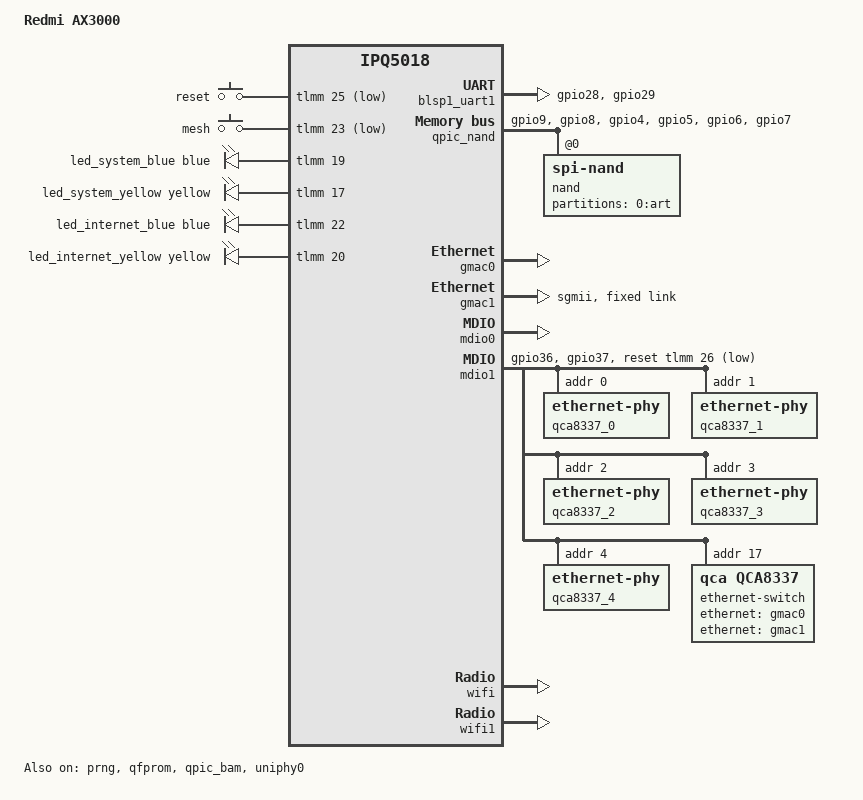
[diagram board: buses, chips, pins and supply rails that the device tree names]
// SPDX-License-Identifier: (GPL-2.0+)
/*
 * Redmi AX3000 / Xiaomi CR8806 / CR8808 / CR8809 (CR880X series)
 * NSS build (kuncy7/openwrt-nss-edma, c3po-tag-8021q, kernel 6.18:
 * upstream stmmac/dwmac-ipq5018 MACs + qca8k DSA switch + NSS cores).
 *
 * Sources of each section (keep this map when editing):
 *   - Ethernet topology (&uniphy0/&gmac0/&gmac1/&mdio1/ethernet-switch):
 *     ipq5018-redmi-ax5400.dts — same QCA8337 + GE-PHY + SGMII wiring,
 *     only the port labels differ (CR8806: Phy0-2 = LAN1-3, Phy3 = WAN).
 *   - QCN6122 5G radio (reserved-memory + &wifi1 + &q6v5_wcss boot-args):
 *     ipq5018-gl-b3000.dts — same chip, same user-PD wiring.
 *   - 256 MB RAM recipe (&nss_region 8 MiB + swiotlb=1 + coherent_pool=512K
 *     + 256M ath11k/NSS memory profiles via kernel config):
 *     ipq5018-tplink-ex511-v2.dts — the community-verified 256M board on
 *     this exact tree.
 *   - Board peripherals (LED/button GPIOs, mdio reset GPIO 26, QCN6122
 *     reset GPIO 27, smem partitions, ECC strength 4):
 *     this repo's openwrt-25.12 device DTS, verified on hardware.
 *
 * Verified on-device so far (25.12 tree): GPIOs, ECC, partitions, UART on
 * gpio28/29, QCN6122 UPD2@PCIE1 with reset GPIO 27. NOT yet verified on
 * this NSS tree: the NSS data plane itself, the dsa (tag_8021q) topology
 * bring-up, and the 256M memory recipe — these follow the community-
 * verified AX5400/B3000/EX511 precedents on the same tree.
 */

/dts-v1/;

#include "ipq5018.dtsi"
#include "ipq5018-ess.dtsi"
#include "ipq5018-nss.dtsi"
#include "ipq5018-qcn6122.dtsi"

#include <dt-bindings/gpio/gpio.h>
#include <dt-bindings/input/input.h>
#include <dt-bindings/leds/common.h>

/ {
        model = "Redmi AX3000";
        compatible = "redmi,ax3000", "qcom,ipq5018";

        aliases {
                label-mac-device = &gmac0;
                serial0 = &blsp1_uart1;

                led-boot = &led_system_blue;
                led-failsafe = &led_system_yellow;
                led-running = &led_system_blue;
                led-upgrade = &led_system_yellow;
        };

        chosen {
                /* root=/dev/ubiblock0_1: same as the 25.12 build (stock
                 * U-Boot passes ubi.mtd=rootfs(_1); sysupgrade boots the
                 * active slot, ubiblock index follows it — verified).
                 *
                 * 256 MB recipe (EX511 v2 precedent): swiotlb=1 for the
                 * stmmac/DMA bounce path and coherent_pool=512K instead of
                 * the 2M every 512 MB board passes. 512K is safe on this
                 * tree because the MPD firmware loader does not drain the
                 * atomic pools (EX511 runs this exact combination).
                 */
                bootargs-append = " root=/dev/ubiblock0_1 swiotlb=1 coherent_pool=512K";
                stdout-path = "serial0:115200n8";
        };

        keys {
                compatible = "gpio-keys";
                pinctrl-0 = <&button_pins>;
                pinctrl-names = "default";

                button-0 {
                        label = "reset";
                        gpios = <&tlmm 25 GPIO_ACTIVE_LOW>;
                        linux,code = <KEY_RESTART>;
                        debounce-interval = <60>;
                };

                button-1 {
                        label = "mesh";
                        gpios = <&tlmm 23 GPIO_ACTIVE_LOW>;
                        linux,code = <KEY_WPS_BUTTON>;
                        debounce-interval = <60>;
                };
        };

        leds {
                compatible = "gpio-leds";
                pinctrl-0 = <&led_pins>;
                pinctrl-names = "default";

                led_system_blue: led-0 {
                        gpios = <&tlmm 19 GPIO_ACTIVE_HIGH>;
                        color = <LED_COLOR_ID_BLUE>;
                        function = LED_FUNCTION_STATUS;
                        default-state = "on";
                };

                led_system_yellow: led-1 {
                        gpios = <&tlmm 17 GPIO_ACTIVE_HIGH>;
                        color = <LED_COLOR_ID_YELLOW>;
                        function = LED_FUNCTION_STATUS;
                };

                led_internet_blue: led-2 {
                        gpios = <&tlmm 22 GPIO_ACTIVE_HIGH>;
                        color = <LED_COLOR_ID_BLUE>;
                        function = LED_FUNCTION_WAN;
                };

                led_internet_yellow: led-3 {
                        gpios = <&tlmm 20 GPIO_ACTIVE_HIGH>;
                        color = <LED_COLOR_ID_YELLOW>;
                        function = LED_FUNCTION_WAN;
                };
        };

        reserved-memory {
                /* QCN6122 user-PD firmware regions. ath11k patch 913 finds
                 * these by memory-region-names ("q6-region"/"m3-dump") and
                 * uses their physical addresses for the BDF download and
                 * M3 dump instead of qcom,bdf-addr (same layout as B3000).
                 */
                q6_region_qcn6122_1: q6-region-qcn6122-1@4d200000 {
                        reg = <0x0 0x4d200000 0x0 0xd00000>;
                        no-map;
                };

                m3_dump_qcn6122_1: m3-dump-qcn6122-1@4df00000 {
                        reg = <0x0 0x4df00000 0x0 0x100000>;
                        no-map;
                };
        };
};

/* NSS core DDR region: firmware image + heap. The dtsi default is 16 MiB
 * (512 MB boards); 256 MiB boards reserve 8 MiB (EX511 v2 precedent, same
 * firmware family). The reservation is taken off MemTotal before Linux
 * sees it. If the NSS core stops booting ("nss core 0 booted successfully"
 * missing in logread) or n2h pbuf allocation failures climb, revert to a
 * larger region and drop other reservations first.
 */
&nss_region {
        reg = <0x0 0x40000000 0x0 0x800000>;
};

/* Board clock frequencies — the dtsi only declares the fixed/factor clocks.
 * Without these the whole clock chain breaks (watchdog loses its input
 * clock; seen on-device on the 25.12 build, same values as B3000/AX5400).
 */
&sleep_clk {
        clock-frequency = <32000>;
};

&xo_board_clk {
        clock-div = <4>;
        clock-mult = <1>;
};

&blsp1_uart1 {
        pinctrl-0 = <&serial_0_pins>;
        pinctrl-names = "default";
        status = "okay";
};

&prng {
        status = "okay";
};

&qfprom {
        status = "okay";
};

&qpic_bam {
        status = "okay";
};

&qpic_nand {
        pinctrl-0 = <&qpic_pins>;
        pinctrl-names = "default";
        status = "okay";

        nand@0 {
                compatible = "spi-nand";
                reg = <0>;

                nand-ecc-engine = <&qpic_nand>;
                /* strength=8 breaks NAND I/O on qpic-snand, use 4 instead
                 * (same as upstream iodata,wn-dax3000gr; matches the ECC
                 * layout written by the stock U-boot flasher — verified
                 * on-device on the 25.12 build)
                 */
                nand-ecc-strength = <4>;
                nand-ecc-step-size = <512>;
                nand-bus-width = <8>;

                partitions {
                        compatible = "qcom,smem-part";

                        /* MAC cells follow the Xiaomi family layout used
                         * by AX5400/AX6000 (art+0x0 = LAN conduit MAC,
                         * art+0x6 = WAN side). Still to be verified
                         * against this unit's label on first NSS boot
                         * (ip link vs label); the 25.12 build shipped no
                         * MAC nvmem cells at all, so this can only get
                         * closer to stock, never break boot.
                         */
                        partition-0-art {
                                label = "0:art";
                                read-only;

                                nvmem-layout {
                                        compatible = "fixed-layout";
                                        #address-cells = <1>;
                                        #size-cells = <1>;

                                        mac_addr_gmac1: macaddr@0 {
                                                reg = <0x0 0x6>;
                                        };

                                        mac_addr_gmac0: macaddr@6 {
                                                reg = <0x6 0x6>;
                                        };
                                };
                        };
                };
        };
};

/*
*     _______________________             _______________________
*    |        IPQ5018        |           |        QCA8337        |
*    | +------+   +--------+ |           | +--------+   +------+ |
*    | | MAC0 |---| GE Phy |-+--- MDI ---+ | Phy4   |           |
*    | +------+   +--------+ |           | +--------+           |
*    | +------+   +--------+ |           | +--------+   +------+ |
*    | | MAC1 |---| Uniphy |-+-- SGMII---+ | SerDes |---| MAC6 | |
*    | +------+   +--------+ |           | +--------+   +------+ |
*    |_______________________|           |_______________________|
*
*    CR8806 port map (differs from AX5400): Phy0-2 = LAN1-3, Phy3 = WAN.
*    gmac0 (eth0) = WAN conduit via GE PHY; gmac1 (eth1) = LAN conduit
*    via SGMII — same role split as AX5400, so the 02_network case and
*    the nss-dwmac dsa topology detection (qca8k bound) work unchanged.
*/

&uniphy0 {
        status = "okay";

        assigned-clocks = <&uniphy0 UNIPHY_CLK_REF>;
        assigned-clock-rates = <UNIPHY_REFCLK_25MHZ>;
};

// MAC0 -> GE Phy (WAN conduit)
&gmac0 {
        status = "okay";

        nvmem-cells = <&mac_addr_gmac0 0>;
        nvmem-cell-names = "mac-address";
};

// MAC1 ---SGMII---> QCA8337 (LAN conduit)
&gmac1 {
        status = "okay";

        phy-mode = "sgmii";

        nvmem-cells = <&mac_addr_gmac1 0>;
        nvmem-cell-names = "mac-address";

        fixed-link {
                speed = <1000>;
                full-duplex;
        };
};

&mdio0 {
        status = "okay";
};

// IPQ5018 GE Phy -> QCA8337 Phy4 (short in-board MDI run)
&ge_phy {
        qcom,dac-preset-short-cable;
};

&mdio1 {
        status = "okay";

        pinctrl-0 = <&mdio1_pins>;
        pinctrl-names = "default";
        reset-gpios = <&tlmm 26 GPIO_ACTIVE_LOW>;

        // QCA8337 Phy0 -> LAN1
        qca8337_0: ethernet-phy@0 {
                reg = <0>;
        };

        // QCA8337 Phy1 -> LAN2
        qca8337_1: ethernet-phy@1 {
                reg = <1>;
        };

        // QCA8337 Phy2 -> LAN3
        qca8337_2: ethernet-phy@2 {
                reg = <2>;
        };

        // QCA8337 Phy3 -> WAN
        qca8337_3: ethernet-phy@3 {
                reg = <3>;
        };

        // QCA8337 Phy4 -> IPQ5018 GE Phy
        qca8337_4: ethernet-phy@4 {
                reg = <4>;
        };

        // QCA8337 switch
        ethernet-switch@11 {
                compatible = "qca,qca8337";
                reg = <0x11>;

                ethernet-ports {
                        #address-cells = <1>;
                        #size-cells = <0>;

                        ethernet-port@1 {
                                reg = <1>;
                                label = "lan1";
                                phy-handle = <&qca8337_0>;
                        };

                        ethernet-port@2 {
                                reg = <2>;
                                label = "lan2";
                                phy-handle = <&qca8337_1>;
                        };

                        ethernet-port@3 {
                                reg = <3>;
                                label = "lan3";
                                phy-handle = <&qca8337_2>;
                        };

                        ethernet-port@4 {
                                reg = <4>;
                                label = "wan";
                                phy-handle = <&qca8337_3>;

                                nvmem-cells = <&mac_addr_gmac0 0>;
                                nvmem-cell-names = "mac-address";
                        };

                        ethernet-port@5 {
                                reg = <5>;
                                phy-handle = <&qca8337_4>;
                                phy-mode = "gmii";
                                ethernet = <&gmac0>;
                        };

                        ethernet-port@6 {
                                reg = <6>;
                                phy-mode = "sgmii";
                                ethernet = <&gmac1>;
                                qca,sgmii-enable-pll;

                                fixed-link {
                                        speed = <1000>;
                                        full-duplex;
                                };
                        };
                };
        };
};

&tlmm {
        serial_0_pins: serial-0-state {
                pins = "gpio28", "gpio29";
                function = "blsp0_uart1";
                drive-strength = <8>;
                bias-disable;
        };

        qpic_pins: qpic-state {
                clock-pins {
                        pins = "gpio9";
                        function = "qspi_clk";
                        drive-strength = <8>;
                        bias-disable;
                };

                cs-pins {
                        pins = "gpio8";
                        function = "qspi_cs";
                        drive-strength = <8>;
                        bias-disable;
                };

                data-pins {
                        pins = "gpio4", "gpio5", "gpio6", "gpio7";
                        function = "qspi_data";
                        drive-strength = <8>;
                        bias-disable;
                };
        };

        mdio1_pins: mdio1-state {
                mdc-pins {
                        pins = "gpio36";
                        function = "mdc";
                        drive-strength = <8>;
                        bias-pull-up;
                };

                mdio-pins {
                        pins = "gpio37";
                        function = "mdio";
                        drive-strength = <8>;
                        bias-pull-up;
                };
        };

        led_pins: led-state {
                pins = "gpio17", "gpio19", "gpio20", "gpio22";
                function = "gpio";
                drive-strength = <8>;
                bias-pull-down;
        };

        button_pins: button-state {
                pins = "gpio23", "gpio25";
                function = "gpio";
                drive-strength = <8>;
                bias-pull-up;
        };
};

/* v1 UPD boot args (remoteproc patch 0813): UPD2 = QCN6122 on PCIE1 —
 * exactly this board's wiring. Default UPD2 GPIO is 0x12 (18); CR8806
 * wires the QCN6122 reset to GPIO 27 (verified on the 25.12 build).
 */
&q6v5_wcss {
        boot-args = <
                        /*       type: */      0x2     /* PCIE1 */
                        /*     length: */      4
                        /*     UPD ID: */      2
                        /* reset GPIO: */      27
                        /*   reserved: */      0 0>;
};

&wifi {
        // IPQ5018 2.4G
        status = "okay";

        qcom,rproc = <&q6v5_wcss>;
        qcom,ath11k-fw-memory-mode = <2>;
};

&wifi1 {
        // QCN6122 5G
        status = "okay";

        qcom,rproc = <&q6v5_wcss>;
        qcom,ath11k-fw-memory-mode = <2>;

        memory-region = <&q6_region_qcn6122_1>, <&q6_region_ipq5018>, <&m3_dump_qcn6122_1>;
        memory-region-names = "q6-region", "m3-region", "m3-dump";
};
